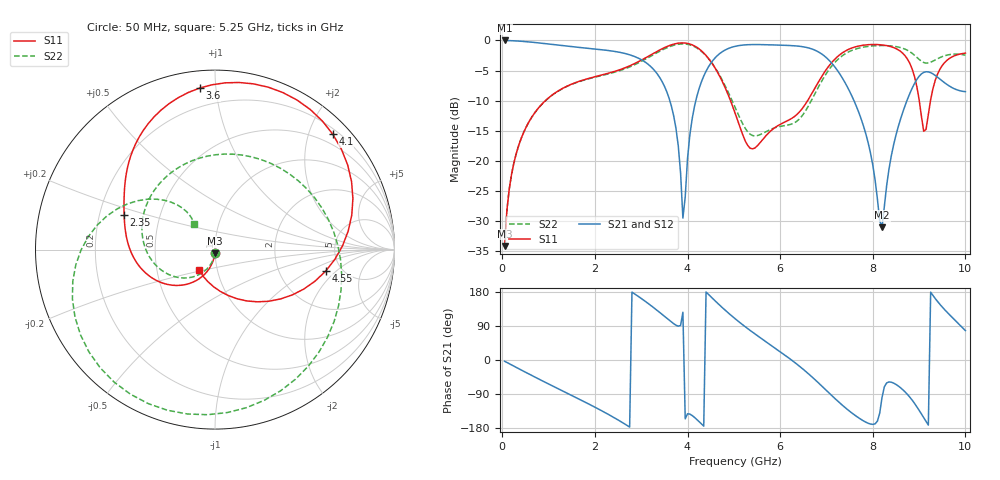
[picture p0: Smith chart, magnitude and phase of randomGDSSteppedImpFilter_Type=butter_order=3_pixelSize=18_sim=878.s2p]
! freq	dB(S11)	phase(S11)	dB(S12)	phase(S12)
!  dB(S21)	phase(S21)	dB(S22)	phase(S22)
!S-par simulation data
#  GHz  S  DB  R 50
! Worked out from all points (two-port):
!   200 points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, 50 MHz to 10 GHz, reference 50 ohm
!   highest |S21| = -0.01 dB at 50 MHz (marker M1); lowest = -31.0 dB at 8.2 GHz (marker M2)
!   |S21| within 3 dB of the highest: start of sweep to 2.955 GHz; 4.583 GHz to 7.017 GHz (2.434 GHz wide, 42 % of centre)
!   lowest |S11| = -34.1 dB at 50 MHz (marker M3), VSWR 1.04, Z = 49.9 - j1.96 ohm
!   |S11| at or under -10 dB: start of sweep to 930.7 MHz; 4.928 GHz to 6.593 GHz (1.665 GHz wide, 28.9 % of centre); 9.004 GHz to 9.246 GHz (242.3 MHz wide, 2.65 % of centre)
!   |S22| runs from -34.1 to -0.6 dB; largest |S21 - S12| = 0
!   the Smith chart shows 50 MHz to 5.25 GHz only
!   S11 on the Smith chart (normalised r, x): 50 MHz: 1.00, -0.04; 2.35 GHz: 0.31, +0.17; 3.6 GHz: 0.09, +0.90; 4.1 GHz: 0.29, +2.42; 4.55 GHz: 3.75, -1.48; 5.25 GHz: 0.82, -0.19
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0.05  -34.12 -92.7  -0.01 -3.3  -0.01 -3.3  -34.14 -93.5
0.5  -14.62 -118.7  -0.20 -32.2  -0.20 -32.2  -14.63 -126.8
1.75  -6.57 -178.8  -1.23 -108.9  -1.23 -108.9  -6.62 139.9
2.35  -5.32 159.0  -1.74 -147.6  -1.74 -147.6  -5.44 84.4
3  -3.28 134.4  -3.19 162.5  -3.19 162.5  -3.49 8.3
3.4  -1.58 111.1  -6.16 125.4  -6.16 125.4  -1.79 -44.6
3.6  -0.88 95.5  -9.56 105.4  -9.56 105.4  -1.08 -71.9
3.9  -0.42 66.6  -29.48 126.0  -29.48 126.0  -0.58 -113.4
4.1  -0.74 44.3  -13.00 -146.5  -13.00 -146.5  -0.87 -140.9
4.55  -4.04 -11.0  -3.30 161.4  -3.30 161.4  -4.00 162.7
5.05  -12.56 -82.6  -0.94 106.7  -0.94 106.7  -11.52 126.9
5.25  -16.74 -127.3  -0.74 87.4  -0.74 87.4  -14.64 129.3
6.05  -13.73 102.4  -0.80 17.5  -0.80 17.5  -14.20 108.0
6.7  -8.60 92.8  -1.46 -46.0  -1.46 -46.0  -9.59 -14.5
7.35  -2.03 46.2  -6.33 -120.0  -6.33 -120.0  -2.50 -117.0
8.2  -0.75 -24.0  -30.99 -98.9  -30.99 -98.9  -0.85 158.2
8.35  -0.95 -37.0  -21.35 -57.8  -21.35 -57.8  -0.89 145.7
8.7  -2.57 -76.1  -10.77 -84.5  -10.77 -84.5  -1.46 116.6
9  -9.78 -143.0  -5.96 -132.5  -5.96 -132.5  -3.14 95.8
9.1  -15.08 154.6  -5.31 -152.3  -5.31 -152.3  -3.66 92.9
9.3  -7.98 38.3  -5.56 170.2  -5.56 170.2  -3.44 87.1
10  -2.11 -41.8  -8.50 77.5  -8.50 77.5  -2.46 14.4
